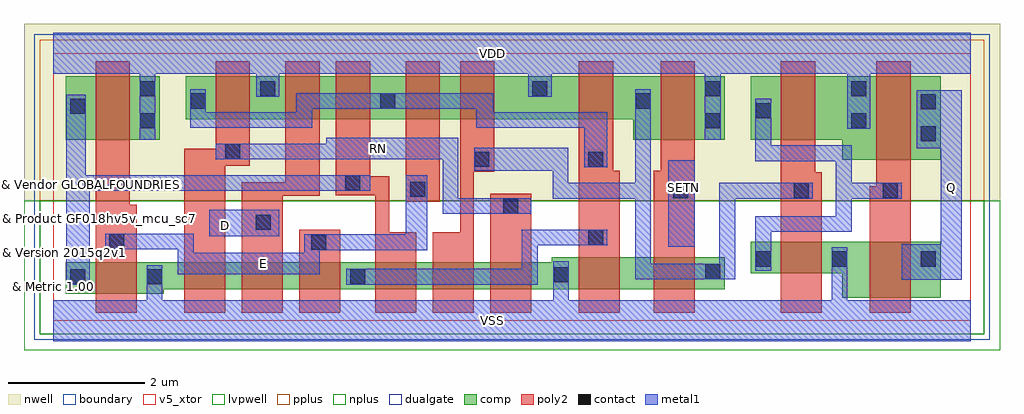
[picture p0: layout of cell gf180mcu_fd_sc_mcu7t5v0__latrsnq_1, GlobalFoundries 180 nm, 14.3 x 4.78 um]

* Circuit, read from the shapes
.subckt gf180mcu_fd_sc_mcu7t5v0__latrsnq_1 D E Q RN SETN VDD VSS
XM1 VSS E n1 VSUBS nfet_05v0 w=0.465u l=0.6u
XM2 n2 RN VSS VSUBS nfet_05v0 w=0.395u l=0.6u
XM3 n3 D n2 VSUBS nfet_05v0 w=0.395u l=0.6u
XM4 n4 E n3 VSUBS nfet_05v0 w=0.395u l=0.6u
XM5 n5 n1 n4 VSUBS nfet_05v0 w=0.395u l=0.6u
XM6 n6 n7 n5 VSUBS nfet_05v0 w=0.395u l=0.6u
XM7 VSS RN n6 VSUBS nfet_05v0 w=0.395u l=0.6u
XM8 n8 n4 VSS VSUBS nfet_05v0 w=0.465u l=0.6u
XM9 n7 SETN n8 VSUBS nfet_05v0 w=0.465u l=0.6u
XM10 VSS n7 n9 VSUBS nfet_05v0 w=0.465u l=0.6u
XM11 Q n9 VSS VSUBS nfet_05v0 w=0.82u l=0.6u
XM12 VDD E n1 n10 pfet_05v0 w=0.925u l=0.5u
XM13 VDD RN n4 n10 pfet_05v0 w=0.63u l=0.5u
XM14 n11 D VDD n10 pfet_05v0 w=0.63u l=0.5u
XM15 n4 n1 n11 n10 pfet_05v0 w=0.63u l=0.5u
XM16 n12 E n4 n10 pfet_05v0 w=0.63u l=0.5u
XM17 VDD n7 n12 n10 pfet_05v0 w=0.63u l=0.5u
XM18 n7 n4 VDD n10 pfet_05v0 w=0.63u l=0.5u
XM19 VDD SETN n7 n10 pfet_05v0 w=0.925u l=0.5u
XM20 VDD n7 n9 n10 pfet_05v0 w=0.925u l=0.5u
XM21 Q n9 VDD n10 pfet_05v0 w=1.22u l=0.5u
.ends

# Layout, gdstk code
import gdstk
lib = gdstk.Library(unit=1e-6, precision=1e-09)
def R(c, l, rs):  # rectangles x0, y0, x1, y1
    for r in rs: c.add(gdstk.rectangle(r[:2], r[2:], *l))
def P(c, l, *ps):  # polygons
    for p in ps: c.add(gdstk.Polygon(p, *l))
boundary = (0, 0)
nwell = (21, 0)
comp = (22, 0)
poly2 = (30, 0)
pplus = (31, 0)
nplus = (32, 0)
contact = (33, 0)
metal1 = (34, 0)
dualgate = (55, 0)
v5_xtor = (112, 1)
lvpwell = (204, 0)

gf180mcu_fd_sc_mcu7t5v0_ = lib.new_cell('gf180mcu_fd_sc_mcu7t5v0__latrsnq_1')
R(gf180mcu_fd_sc_mcu7t5v0_, boundary, [(0,0,13.44,3.92)])
R(gf180mcu_fd_sc_mcu7t5v0_, nwell, [(-0.43,1.76,13.87,4.35)])
R(gf180mcu_fd_sc_mcu7t5v0_, comp, [(0.18,2.655,1.56,3.58)])
P(gf180mcu_fd_sc_mcu7t5v0_, comp, [(0.18,0.395),(0.18,0.86),(7.3,0.86),(7.3,0.93),(9.84,0.93),(9.84,0.465),(1.62,0.465),(1.62,0.395)],
  [(8.5,2.655),(8.5,2.95),(1.94,2.95),(1.94,3.58),(9.84,3.58),(9.84,2.655)],
  [(11.56,0.34),(11.56,0.695),(10.22,0.695),(10.22,1.16),(13,1.16),(13,0.34)],
  [(11.56,2.36),(11.56,2.655),(10.22,2.655),(10.22,3.58),(13,3.58),(13,2.36)])
R(gf180mcu_fd_sc_mcu7t5v0_, poly2, [(3.6,0.12,4.2,1.33), (6.4,0.12,7,1.86), (5.16,1.745,5.66,3.8)])
P(gf180mcu_fd_sc_mcu7t5v0_, poly2, [(0.62,0.12),(0.62,3.8),(1.12,3.8),(1.12,1.7),(1.22,1.7),(1.22,0.12)],
  [(1.92,0.12),(1.92,2.52),(2.38,2.52),(2.38,3.8),(2.88,3.8),(2.88,2.27),(2.52,2.27),(2.52,0.12)],
  [(2.76,0.12),(2.76,2.03),(3.4,2.03),(3.4,3.8),(3.9,3.8),(3.9,1.83),(3.36,1.83),(3.36,0.12)],
  [(4.72,0.12),(4.72,1.84),(4.14,1.84),(4.14,3.8),(4.64,3.8),(4.64,2.115),(4.92,2.115),(4.92,1.3),(5.32,1.3),(5.32,0.12)],
  [(5.56,0.12),(5.56,1.3),(5.96,1.3),(5.96,3.8),(6.46,3.8),(6.46,2.185),(6.16,2.185),(6.16,0.12)],
  [(7.7,0.12),(7.7,3.8),(8.2,3.8),(8.2,2.2),(8.3,2.2),(8.3,0.12)],
  [(8.8,0.12),(8.8,2.2),(8.9,2.2),(8.9,3.8),(9.4,3.8),(9.4,0.12)],
  [(10.66,0.12),(10.66,3.8),(11.16,3.8),(11.16,2.175),(11.26,2.175),(11.26,0.12)],
  [(11.96,0.12),(11.96,1.97),(12.06,1.97),(12.06,3.8),(12.56,3.8),(12.56,0.12)])
R(gf180mcu_fd_sc_mcu7t5v0_, pplus, [(-0.2,1.76,13.64,4.12)])
R(gf180mcu_fd_sc_mcu7t5v0_, nplus, [(-0.2,-0.2,13.64,1.76)])
R(gf180mcu_fd_sc_mcu7t5v0_, contact, [(0.25,0.535,0.47,0.755), (1.37,0.535,1.59,0.755), (4.35,0.535,4.57,0.755), (7.33,0.565,7.55,0.785), (9.55,0.61,9.77,0.83), (10.29,0.795,10.51,1.015), (11.41,0.795,11.63,1.015), (12.71,0.795,12.93,1.015), (3.78,1.04,4,1.26), (0.82,1.05,1.04,1.27), (7.835,1.11,8.055,1.33), (2.965,1.335,3.185,1.555), (6.59,1.57,6.81,1.79), (9.08,1.795,9.3,2.015), (10.845,1.795,11.065,2.015), (12.15,1.795,12.37,2.015), (5.23,1.815,5.45,2.035), (4.28,1.91,4.5,2.13), (6.17,2.255,6.39,2.475), (7.835,2.255,8.055,2.475), (2.52,2.37,2.74,2.59), (12.71,2.63,12.93,2.85), (1.27,2.82,1.49,3.04), (9.55,2.82,9.77,3.04), (11.69,2.82,11.91,3.04), (10.29,2.97,10.51,3.19), (0.25,3.03,0.47,3.25), (12.71,3.1,12.93,3.32), (2.01,3.11,2.23,3.33), (4.79,3.11,5.01,3.33), (8.53,3.11,8.75,3.33), (1.27,3.29,1.49,3.51), (3.03,3.29,3.25,3.51), (7.02,3.29,7.24,3.51), (9.55,3.29,9.77,3.51), (11.69,3.29,11.91,3.51)])
R(gf180mcu_fd_sc_mcu7t5v0_, metal1, [(9.01,1.085,9.4,2.355), (2.285,1.24,3.31,1.63)])
P(gf180mcu_fd_sc_mcu7t5v0_, metal1, [(0.19,0.53),(0.19,3.31),(0.475,3.31),(0.475,2.135),(4.64,2.135),(4.64,1.905),(0.53,1.905),(0.53,0.53)],
  [(1.825,0.68),(1.825,1.045),(0.76,1.045),(0.76,1.275),(2.055,1.275),(2.055,1),(3.675,1),(3.675,1.265),(5.16,1.265),(5.16,2.135),(5.475,2.135),(5.475,1.035),(3.905,1.035),(3.905,0.68)],
  [(5.705,1.565),(5.705,2.365),(2.38,2.365),(2.38,2.595),(4,2.595),(4,2.68),(5.935,2.68),(5.935,1.795),(7,1.795),(7,1.565)],
  [(4.29,0.53),(4.29,0.76),(6.865,0.76),(6.865,1.335),(8.115,1.335),(8.115,1.105),(7.095,1.105),(7.095,0.53)],
  [(7.775,2.25),(7.775,2.825),(6.195,2.825),(6.195,3.105),(3.79,3.105),(3.79,2.825),(2.005,2.825),(2.005,3.39),(2.235,3.39),(2.235,3.055),(3.56,3.055),(3.56,3.335),(6.445,3.335),(6.445,3.055),(8.115,3.055),(8.115,2.25)],
  [(8.525,0.605),(8.525,1.79),(7.315,1.79),(7.315,2.195),(6.165,2.195),(6.165,2.535),(7.545,2.535),(7.545,2.02),(8.525,2.02),(8.525,3.39),(8.755,3.39),(8.755,0.835),(9.76,0.835),(9.76,2.02),(11.125,2.02),(11.125,1.79),(9.99,1.79),(9.99,0.605)],
  [(10.285,0.735),(10.285,1.535),(11.465,1.535),(11.465,2.34),(10.285,2.34),(10.285,3.25),(10.515,3.25),(10.515,2.57),(11.695,2.57),(11.695,2.02),(12.43,2.02),(12.43,1.79),(11.695,1.79),(11.695,1.305),(10.515,1.305),(10.515,0.735)],
  [(12.43,0.6),(12.43,1.12),(13,1.12),(13,2.53),(12.65,2.53),(12.65,3.38),(13.31,3.38),(13.31,0.6)],
  [(0,-0.3),(0,0.3),(1.365,0.3),(1.365,0.815),(1.595,0.815),(1.595,0.3),(7.325,0.3),(7.325,0.875),(7.555,0.875),(7.555,0.3),(11.405,0.3),(11.405,1.075),(11.635,1.075),(11.635,0.3),(13.44,0.3),(13.44,-0.3)],
  [(1.265,2.655),(1.265,3.62),(0,3.62),(0,4.22),(13.44,4.22),(13.44,3.62),(11.97,3.62),(11.97,2.815),(11.63,2.815),(11.63,3.62),(9.775,3.62),(9.775,2.655),(9.545,2.655),(9.545,3.62),(7.3,3.62),(7.3,3.285),(6.96,3.285),(6.96,3.62),(3.31,3.62),(3.31,3.285),(2.97,3.285),(2.97,3.62),(1.495,3.62),(1.495,2.655)])
R(gf180mcu_fd_sc_mcu7t5v0_, dualgate, [(-0.28,-0.28,13.72,4.2)])
R(gf180mcu_fd_sc_mcu7t5v0_, v5_xtor, [(0,0,13.44,3.92)])
R(gf180mcu_fd_sc_mcu7t5v0_, lvpwell, [(-0.43,-0.43,13.87,1.76)])
gf180mcu_fd_sc_mcu7t5v0_.add(gdstk.Label('SETN', (9.24,1.96), layer=34, texttype=10))
gf180mcu_fd_sc_mcu7t5v0_.add(gdstk.Label('Q', (13.16,1.96), layer=34, texttype=10))
gf180mcu_fd_sc_mcu7t5v0_.add(gdstk.Label('RN', (4.76,2.52), layer=34, texttype=10))
gf180mcu_fd_sc_mcu7t5v0_.add(gdstk.Label('VSS', (6.44,0), layer=34, texttype=10))
gf180mcu_fd_sc_mcu7t5v0_.add(gdstk.Label('E', (3.08,0.84), layer=34, texttype=10))
gf180mcu_fd_sc_mcu7t5v0_.add(gdstk.Label('VDD', (6.44,3.92), layer=34, texttype=10))
gf180mcu_fd_sc_mcu7t5v0_.add(gdstk.Label('D', (2.52,1.4), layer=34, texttype=10))
gf180mcu_fd_sc_mcu7t5v0_.add(gdstk.Label('& Vendor GLOBALFOUNDRIES', (0,2), layer=63, texttype=63))
gf180mcu_fd_sc_mcu7t5v0_.add(gdstk.Label('& Product GF018hv5v_mcu_sc7', (0,1.5), layer=63, texttype=63))
gf180mcu_fd_sc_mcu7t5v0_.add(gdstk.Label('& Version 2015q2v1', (0,1), layer=63, texttype=63))
gf180mcu_fd_sc_mcu7t5v0_.add(gdstk.Label('& Metric 1.00', (0,0.5), layer=63, texttype=63))

lib.write_gds('gf180mcu_fd_sc_mcu7t5v0__latrsnq_1.gds')
